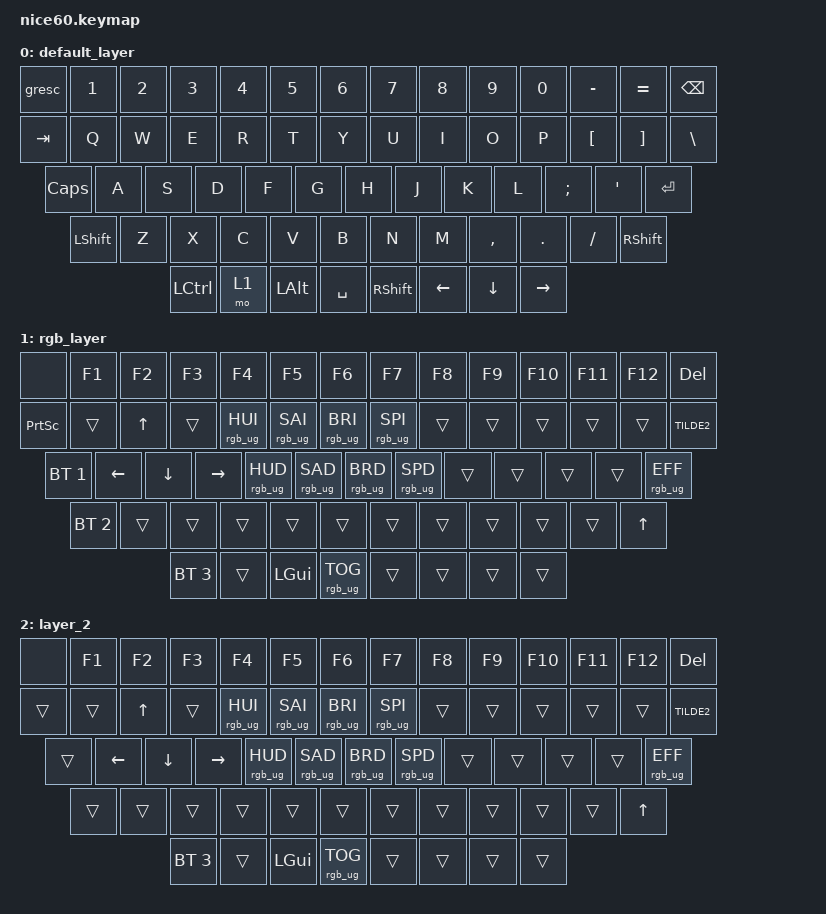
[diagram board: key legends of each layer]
/*
 * Copyright (c) 2021 Nick Winans
 *
 * SPDX-License-Identifier: MIT
 */

#include <behaviors.dtsi>
#include <dt-bindings/zmk/keys.h>
#include <dt-bindings/zmk/rgb.h>
#include <dt-bindings/zmk/bt.h>


#define DEFAULT 0
#define NONE 0

/ {

	keymap {
		compatible = "zmk,keymap";
		
		default_layer {
// ------------------------------------------------------------------------------------------
// | ESC |  1  |  2  |  3  |  4  |  5  |  6  |  7  |  8  |  9  |  8  |  -  |  =  |   BKSP   |
// | TAB  |  Q  |  W  |  E  |  R  |  T  |  Y  |  U  |  I  |  O  |  P  |  [  |  ]  |   "|"   |
// | CAPS  |  A  |  S  |  D  |  F  |  G  |  H  |  J  |  K  |  L  |  ;  |  '  |     ENTER    |
// |  SHIFT  |  Z  |  X  |  C  |  V  |  B  |  N  |  M  |  ,  |  .  |  /  |      SHIFT       |
// |  CTL  |  WIN  |  ALT  |            SPACE              |  ALT  |  WIN  |  9 |  CTL  |
// ------------------------------------------------------------------------------------------
			bindings = <
	&gresc  &kp N1 &kp N2 &kp N3 &kp N4 &kp N5 &kp N6 &kp N7 &kp N8 &kp N9 &kp N0 &kp MINUS &kp EQUAL  &kp BSPC
	&kp TAB  &kp Q  &kp W  &kp E  &kp R  &kp T  &kp Y  &kp U  &kp I  &kp O  &kp P  &kp LBKT  &kp RBKT  &kp BSLH
	&kp CLCK  &kp A  &kp S  &kp D  &kp F  &kp G  &kp H  &kp J  &kp K  &kp L  &kp SEMI &kp SQT           &kp RET
	&kp LSHFT   &kp Z  &kp X  &kp C  &kp V  &kp B  &kp N  &kp M  &kp COMMA &kp DOT &kp FSLH           &kp RSHIFT
	&kp LCTRL &mo 1 &kp LALT             &kp SPACE                     &kp RSHFT  &kp LEFT  &kp DOWN   &kp RIGHT
			>;
		};

		rgb_layer {
// ------------------------------------------------------------------------------------------------
// | BT CLR | F1  | F2  | F3  | F4  | F5  | F6  | F7  | F8  | F9  | F10  | F11 | F12 | EFFECT REV |
// |  BT 1   |   |  UP |   | HUEUP | SATUP | BRIUP | SPDUP |   |     |    |     |     |           |
// |   BT 2   | LT |  DN  | RT | HUEDN | SATDN | BRIDN | SPDDN |   |     |   |     |  EFFECT FORW |
// |    BT 3     |     |      |      |     |     |     |     |     |     |     |                  |
// |   BT 4  |      |      |             TOG RGB                | PRT SCR |       |       |  DEL  |
// ------------------------------------------------------------------------------------------------
			bindings = <
	&none   &kp F1    &kp F2    &kp F3  &kp F4           &kp F5          &kp F6          &kp F7          &kp F8   &kp F9   &kp F10  &kp F11 &kp F12  &kp DEL
	&kp PSCRN  &trans    &kp UP    &trans  &rgb_ug RGB_HUI  &rgb_ug RGB_SAI &rgb_ug RGB_BRI &rgb_ug RGB_SPI  &trans   &trans   &trans   &trans  &trans          &kp TILDE2 
	&bt BT_SEL 1   &kp LEFT  &kp DOWN  &kp RIGHT &rgb_ug RGB_HUD &rgb_ug RGB_SAD &rgb_ug RGB_BRD &rgb_ug RGB_SPD &trans   &trans   &trans   &trans        &rgb_ug RGB_EFF
	&bt BT_SEL 2    &trans    &trans    &trans   &trans          &trans          &trans          &trans          &trans   &trans   &trans                          &kp UP
	&bt BT_SEL 3  &trans   &kp LGUI                            &rgb_ug RGB_TOG                                      &trans      &trans      &trans               &trans
			>;
		};
		
		layer_2 {
// ------------------------------------------------------------------------------------------------
// | BT CLR | F1  | F2  | F3  | F4  | F5  | F6  | F7  | F8  | F9  | F10  | F11 | F12 | EFFECT REV |
// |  BT 1   |   |  UP |   | HUEUP | SATUP | BRIUP | SPDUP |   |     |    |     |     |           |
// |   BT 2   | LT |  DN  | RT | HUEDN | SATDN | BRIDN | SPDDN |   |     |   |     |  EFFECT FORW |
// |    BT 3     |     |      |      |     |     |     |     |     |     |     |                  |
// |   BT 4  |      |      |             TOG RGB                | PRT SCR |       |       |  DEL  |
// ------------------------------------------------------------------------------------------------
			bindings = <
	&none   &kp F1    &kp F2    &kp F3  &kp F4           &kp F5          &kp F6          &kp F7          &kp F8   &kp F9   &kp F10  &kp F11 &kp F12  &kp DEL
	&trans  &trans    &kp UP    &trans  &rgb_ug RGB_HUI  &rgb_ug RGB_SAI &rgb_ug RGB_BRI &rgb_ug RGB_SPI  &trans   &trans   &trans   &trans  &trans          &kp TILDE2 
	&trans   &kp LEFT  &kp DOWN  &kp RIGHT &rgb_ug RGB_HUD &rgb_ug RGB_SAD &rgb_ug RGB_BRD &rgb_ug RGB_SPD &trans   &trans   &trans   &trans        &rgb_ug RGB_EFF
	&trans    &trans    &trans    &trans   &trans          &trans          &trans          &trans          &trans   &trans   &trans                          &kp UP
	&bt BT_SEL 3  &trans   &kp LGUI                            &rgb_ug RGB_TOG                                      &trans      &trans      &trans               &trans
			>;
		};		
		
	};
};
